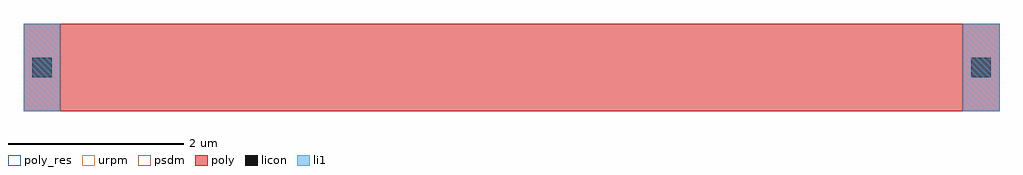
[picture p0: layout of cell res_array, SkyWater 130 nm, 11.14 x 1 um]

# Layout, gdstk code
import gdstk
lib = gdstk.Library(unit=1e-6, precision=1e-09)
def R(c, l, rs):  # rectangles x0, y0, x1, y1
    for r in rs: c.add(gdstk.rectangle(r[:2], r[2:], *l))
poly_res = (66, 13)
poly = (66, 20)
licon = (66, 44)
li1 = (67, 20)
urpm = (79, 20)
psdm = (94, 20)

res_array = lib.new_cell('res_array')
R(res_array, poly_res, [(0.42,0,10.72,1)])
R(res_array, poly, [(0,0,11.14,1)])
R(res_array, licon, [(0.1,0.39,0.32,0.61), (10.82,0.39,11.04,0.61)])
R(res_array, li1, [(0,0,0.42,1), (10.72,0,11.14,1)])
R(res_array, urpm, [(0.42,0,10.72,1)])
R(res_array, psdm, [(0.42,0,10.72,1)])

lib.write_gds('res_array.gds')
